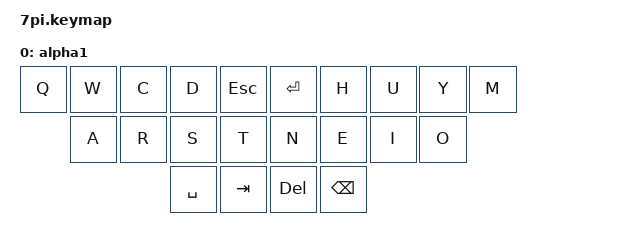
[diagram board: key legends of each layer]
#include <behaviors.dtsi>
#include <dt-bindings/zmk/keys.h>
#include <dt-bindings/zmk/bt.h>

/ { 
     keymap {
        compatible = "zmk,keymap";
        
       	alpha1 {
		bindings = <
		&kp Q    &kp W       &kp C       &kp D        &kp ESC        &kp ENTER       &kp H       &kp U       &kp Y      &kp M
        &kp A       &kp R       &kp S       &kp T                                       &kp N       &kp E       &kp I       &kp O
                                            &kp SPACE    &kp TAB        &kp DEL         &kp BSPC
		>;
        };
    };
};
